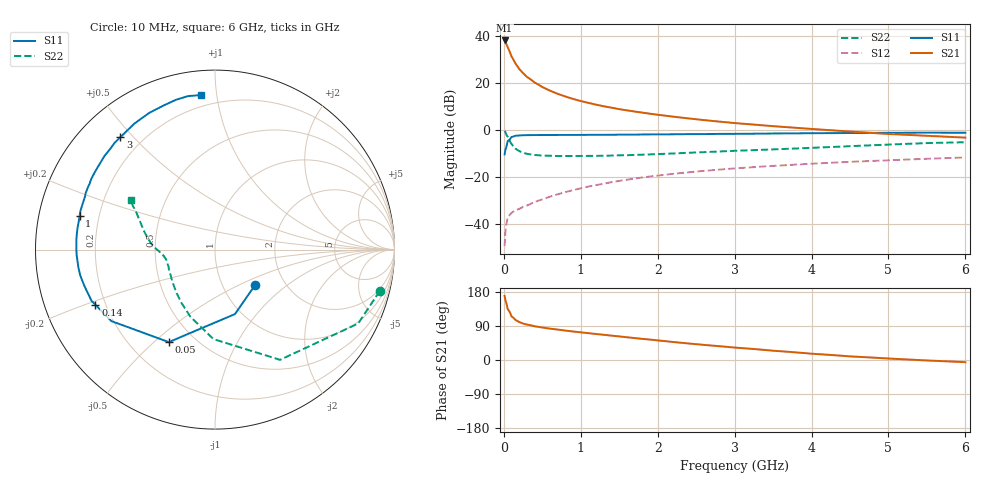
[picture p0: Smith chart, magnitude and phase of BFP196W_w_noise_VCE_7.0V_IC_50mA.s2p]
! Infineon Technologies  Discrete & RF Semiconductors
! BFP196W
! VCE =  7.0 V,  IC =  50 mA
! Common Emitter S-Parameters:  Jan 2017
# GHz  S  MA  R  50
!  f  S11  S21  S12  S22
! GHz  MAG  ANG  MAG  ANG  MAG  ANG  MAG  ANG
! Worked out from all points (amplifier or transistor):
!   77 points, 10 MHz to 6 GHz, reference 50 ohm
!   highest |S21| = 38.1 dB at 10 MHz (marker M1)
!   |S21| within 3 dB of that: start of sweep to 52.22 MHz
!   unconditionally stable (mu >= 1): 698.3 MHz to 3.289 GHz
!   at 130 MHz: K = 0.41, MSG = 32.2 dB, |S12| = -34.8 dB
!   at 2.2 GHz: K = 1.04, MAG = 11.0 dB, |S12| = -18.8 dB
!   at 6 GHz: K = 0.94, MSG = 4.2 dB, |S12| = -11.8 dB
!   lowest NFmin = 1.36 dB at 450 MHz
!   S11 on the Smith chart (normalised r, x): 10 MHz: 1.43, -0.61; 50 MHz: 0.36, -0.56; 140 MHz: 0.16, -0.21; 1 GHz: 0.13, +0.12; 3 GHz: 0.12, +0.46; 6 GHz: 0.13, +0.90
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0.01  0.298 -41.0  80.17 169.1  0.0033 81.0  0.9465 -14.1
0.02  0.3761 -72.8  76.07 158.1  0.0066 74.3  0.8978 -27.3
0.05  0.5759 -116.5  57.81 134.5  0.0136 53.2  0.7128 -59.5
0.1  0.7016 -145.4  36.64 115.0  0.0169 43.7  0.4986 -91.0
0.14  0.7336 -155.2  28.03 108.2  0.0188 41.4  0.4139 -105.7
0.15  0.7448 -157.5  25.97 105.8  0.0193 40.9  0.398 -110.2
0.2  0.7555 -164.5  19.88 100.2  0.0205 43.1  0.3508 -122.2
0.25  0.765 -169.3  16.06 96.2  0.0227 44.8  0.3233 -131.4
0.3  0.7676 -172.7  13.44 93.5  0.0242 47.3  0.3073 -137.8
0.4  0.7716 -177.8  10.18 89.0  0.0289 51.9  0.2905 -146.8
0.5  0.7729 178.7  8.155 85.7  0.0328 54.9  0.2823 -152.7
0.6  0.7744 175.7  6.818 82.7  0.0375 57.0  0.2796 -156.8
0.8  0.7754 170.6  5.12 77.6  0.0469 61.2  0.2758 -162.2
1  0.7773 166.2  4.103 73.0  0.0564 61.7  0.2763 -165.9
1.1  0.7799 164.1  3.738 70.8  0.0616 61.9  0.2773 -167.1
1.5  0.7866 156.2  2.755 62.2  0.0812 61.2  0.2852 -171.8
2.1  0.7987 144.9  1.995 49.7  0.1101 57.6  0.3076 -177.4
3  0.8186 130.1  1.391 32.8  0.1499 50.2  0.3558 174.9
3.1  0.8204 128.6  1.349 31.3  0.1538 49.3  0.3608 173.9
4.1  0.846 114.5  1.016 15.3  0.1924 41.2  0.4184 163.7
5.1  0.8632 103.7  0.799 2.9  0.2269 33.2  0.4907 154.2
6  0.8644 95.2  0.68 -5.8  0.2567 26.2  0.5424 149.3
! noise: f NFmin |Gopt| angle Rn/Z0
0.45  1.36  0.51  -177  0.05
0.9  1.48  0.55  -171  0.07
1.9  2.3  0.69  -149  0.16
2.4  2.7  0.73  -144  0.26
